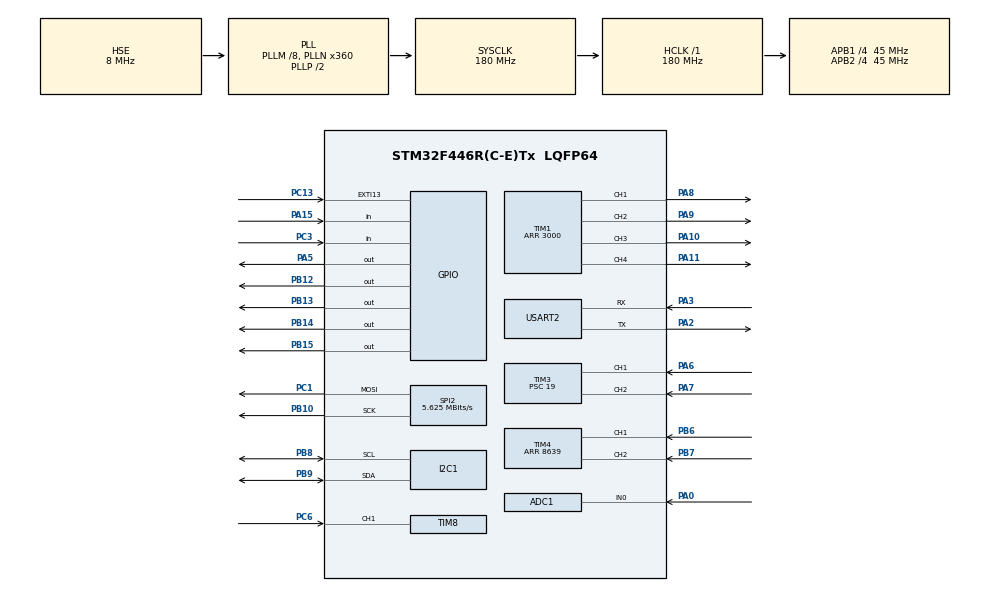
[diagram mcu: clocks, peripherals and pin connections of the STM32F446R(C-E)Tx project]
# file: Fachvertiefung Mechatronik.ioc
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ADC1.Channel-18\#ChannelRegularConversion=ADC_CHANNEL_0
ADC1.ClockPrescaler=ADC_CLOCK_SYNC_PCLK_DIV2
ADC1.ContinuousConvMode=DISABLE
ADC1.DMAContinuousRequests=DISABLE
ADC1.DataAlign=ADC_DATAALIGN_RIGHT
ADC1.DiscontinuousConvMode=DISABLE
ADC1.EOCSelection=ADC_EOC_SEQ_CONV
ADC1.EnableAnalogWatchDog=false
ADC1.ExternalTrigConv=ADC_EXTERNALTRIGCONV_T2_TRGO
ADC1.ExternalTrigConvEdge=ADC_EXTERNALTRIGCONVEDGE_RISING
ADC1.InjNumberOfConversion=0
ADC1.NbrOfConversion=1
ADC1.NbrOfConversionFlag=1
ADC1.Rank-18\#ChannelRegularConversion=1
ADC1.Resolution=ADC_RESOLUTION_12B
ADC1.SamplingTime-18\#ChannelRegularConversion=ADC_SAMPLETIME_3CYCLES
ADC1.ScanConvMode=DISABLE
ADC1.master=1
Dma.I2C1_TX.0.Direction=DMA_MEMORY_TO_PERIPH
Dma.I2C1_TX.0.FIFOMode=DMA_FIFOMODE_ENABLE
Dma.I2C1_TX.0.FIFOThreshold=DMA_FIFO_THRESHOLD_FULL
Dma.I2C1_TX.0.Instance=DMA1_Stream7
Dma.I2C1_TX.0.MemBurst=DMA_MBURST_SINGLE
Dma.I2C1_TX.0.MemDataAlignment=DMA_MDATAALIGN_BYTE
Dma.I2C1_TX.0.MemInc=DMA_MINC_ENABLE
Dma.I2C1_TX.0.Mode=DMA_NORMAL
Dma.I2C1_TX.0.PeriphBurst=DMA_PBURST_SINGLE
Dma.I2C1_TX.0.PeriphDataAlignment=DMA_PDATAALIGN_BYTE
Dma.I2C1_TX.0.PeriphInc=DMA_PINC_DISABLE
Dma.I2C1_TX.0.Priority=DMA_PRIORITY_LOW
Dma.Request0=I2C1_TX
Dma.Request1=USART2_RX
Dma.Request2=USART2_TX
Dma.Request3=SPI2_TX
Dma.SPI2_TX.3.Direction=DMA_MEMORY_TO_PERIPH
Dma.SPI2_TX.3.FIFOMode=DMA_FIFOMODE_DISABLE
Dma.SPI2_TX.3.Instance=DMA1_Stream4
Dma.SPI2_TX.3.MemDataAlignment=DMA_MDATAALIGN_BYTE
Dma.SPI2_TX.3.MemInc=DMA_MINC_ENABLE
Dma.SPI2_TX.3.Mode=DMA_NORMAL
Dma.SPI2_TX.3.PeriphDataAlignment=DMA_PDATAALIGN_BYTE
Dma.SPI2_TX.3.PeriphInc=DMA_PINC_DISABLE
Dma.SPI2_TX.3.Priority=DMA_PRIORITY_VERY_HIGH
Dma.USART2_RX.1.Direction=DMA_PERIPH_TO_MEMORY
Dma.USART2_RX.1.FIFOMode=DMA_FIFOMODE_DISABLE
Dma.USART2_RX.1.Instance=DMA1_Stream5
Dma.USART2_RX.1.MemDataAlignment=DMA_MDATAALIGN_BYTE
Dma.USART2_RX.1.MemInc=DMA_MINC_ENABLE
Dma.USART2_RX.1.Mode=DMA_NORMAL
Dma.USART2_RX.1.PeriphDataAlignment=DMA_PDATAALIGN_BYTE
Dma.USART2_RX.1.PeriphInc=DMA_PINC_DISABLE
Dma.USART2_RX.1.Priority=DMA_PRIORITY_LOW
Dma.USART2_TX.2.Direction=DMA_MEMORY_TO_PERIPH
Dma.USART2_TX.2.FIFOMode=DMA_FIFOMODE_DISABLE
Dma.USART2_TX.2.Instance=DMA1_Stream6
Dma.USART2_TX.2.MemDataAlignment=DMA_MDATAALIGN_BYTE
Dma.USART2_TX.2.MemInc=DMA_MINC_ENABLE
Dma.USART2_TX.2.Mode=DMA_NORMAL
Dma.USART2_TX.2.PeriphDataAlignment=DMA_PDATAALIGN_BYTE
Dma.USART2_TX.2.PeriphInc=DMA_PINC_DISABLE
Dma.USART2_TX.2.Priority=DMA_PRIORITY_LOW
I2C1.I2C_Mode=I2C_Fast
I2C1.NoStretchMode=I2C_NOSTRETCH_ENABLE
Mcu.Family=STM32F4
Mcu.Name=STM32F446R(C-E)Tx
Mcu.Package=LQFP64
Mcu.UserConstants=MODULE_NAME,"Mechatronik";FRAM_CLEAR_ON_INIT,0;FRAM_SIZE,2000
NVIC.ADC_IRQn=true\:0\:0\:false\:false\:true\:true
NVIC.DMA1_Stream4_IRQn=true\:0\:0\:false\:false\:true\:false
NVIC.DMA1_Stream5_IRQn=true\:0\:0\:false\:false\:true\:false
NVIC.DMA1_Stream6_IRQn=true\:0\:0\:false\:false\:true\:false
NVIC.DMA1_Stream7_IRQn=true\:0\:0\:false\:false\:true\:false
NVIC.EXTI15_10_IRQn=true\:0\:0\:false\:false\:true\:true
NVIC.I2C1_ER_IRQn=true\:0\:0\:false\:false\:true\:true
NVIC.I2C1_EV_IRQn=true\:0\:0\:false\:false\:true\:true
NVIC.PriorityGroup=NVIC_PRIORITYGROUP_0
NVIC.TIM1_UP_TIM10_IRQn=true\:0\:0\:false\:false\:true\:true
NVIC.TIM3_IRQn=true\:0\:0\:false\:false\:true\:true
NVIC.TIM8_CC_IRQn=true\:0\:0\:false\:false\:true\:true
NVIC.TIM8_UP_TIM13_IRQn=true\:0\:0\:false\:false\:true\:true
NVIC.USART2_IRQn=true\:0\:0\:false\:false\:true\:true
PA0-WKUP.Signal=ADCx_IN0
PA10.Signal=S_TIM1_CH3
PA11.Signal=S_TIM1_CH4
PA13.Mode=Serial_Wire
PA13.Signal=SYS_JTMS-SWDIO
PA14.Mode=Serial_Wire
PA14.Signal=SYS_JTCK-SWCLK
PA15.Signal=GPIO_Input
PA2.GPIO_Mode=GPIO_MODE_AF_PP
PA2.GPIO_PuPd=GPIO_PULLUP
PA2.GPIO_Speed=GPIO_SPEED_FREQ_VERY_HIGH
PA2.Mode=Asynchronous
PA2.Signal=USART2_TX
PA3.GPIO_Mode=GPIO_MODE_AF_PP
PA3.GPIO_PuPd=GPIO_PULLUP
PA3.GPIO_Speed=GPIO_SPEED_FREQ_VERY_HIGH
PA3.Mode=Asynchronous
PA3.Signal=USART2_RX
PA5.GPIO_ModeDefaultOutputPP=GPIO_MODE_OUTPUT_PP
PA5.GPIO_PuPd=GPIO_NOPULL
PA5.GPIO_Speed=GPIO_SPEED_FREQ_LOW
PA5.PinState=GPIO_PIN_RESET
PA5.Signal=GPIO_Output
PA6.Signal=S_TIM3_CH1
PA7.Signal=S_TIM3_CH2
PA8.Signal=S_TIM1_CH1
PA9.Signal=S_TIM1_CH2
PB10.Mode=TX_Only_Simplex_Unidirect_Master
PB10.Signal=SPI2_SCK
PB12.Signal=GPIO_Output
PB13.Signal=GPIO_Output
PB14.Signal=GPIO_Output
PB15.Signal=GPIO_Output
PB3.Signal=SYS_JTDO-SWO
PB6.Signal=S_TIM4_CH1
PB7.Signal=S_TIM4_CH2
PB8.Mode=I2C
PB8.Signal=I2C1_SCL
PB9.Mode=I2C
PB9.Signal=I2C1_SDA
PC1.Mode=TX_Only_Simplex_Unidirect_Master
PC1.Signal=SPI2_MOSI
PC13.GPIO_ModeDefaultEXTI=GPIO_MODE_IT_RISING
PC13.GPIO_PuPd=GPIO_NOPULL
PC13.Signal=GPXTI13
PC14-OSC32_IN.Mode=LSE-External-Oscillator
PC14-OSC32_IN.Signal=RCC_OSC32_IN
PC15-OSC32_OUT.Mode=LSE-External-Oscillator
PC15-OSC32_OUT.Signal=RCC_OSC32_OUT
PC3.Signal=GPIO_Input
PC6.Signal=S_TIM8_CH1
PH0-OSC_IN.Mode=HSE-External-Oscillator
PH0-OSC_IN.Signal=RCC_OSC_IN
PH1-OSC_OUT.Mode=HSE-External-Oscillator
PH1-OSC_OUT.Signal=RCC_OSC_OUT
ProjectManager.HeapSize=0x200
ProjectManager.StackSize=0x400
ProjectManager.TargetToolchain=TrueSTUDIO
RCC.48MHZClocksFreq_Value=84000000
RCC.AHBFreq_Value=180000000
RCC.APB1CLKDivider=RCC_HCLK_DIV4
RCC.APB1Freq_Value=45000000
RCC.APB1TimFreq_Value=90000000
RCC.APB2CLKDivider=RCC_HCLK_DIV4
RCC.APB2Freq_Value=45000000
RCC.APB2TimFreq_Value=90000000
RCC.CortexFreq_Value=180000000
RCC.FLatency-AdvancedSettings=FLASH_LATENCY_5
RCC.HCLKFreq_Value=180000000
RCC.HSE_VALUE=8000000
RCC.HSI_VALUE=16000000
RCC.PLLM=8
RCC.PLLN=360
RCC.PLLSourceVirtual=RCC_PLLSOURCE_HSE
RCC.SYSCLKFreq_VALUE=180000000
RCC.SYSCLKSource=RCC_SYSCLKSOURCE_PLLCLK
RCC.USBFreq_Value=180000000
RCC.VCOOutputFreq_Value=360000000
SH.ADCx_IN0.0=ADC1_IN0,IN0
SH.S_TIM1_CH1.0=TIM1_CH1,PWM Generation1 CH1
SH.S_TIM1_CH2.0=TIM1_CH2,PWM Generation2 CH2
SH.S_TIM1_CH3.0=TIM1_CH3,PWM Generation3 CH3
SH.S_TIM1_CH4.0=TIM1_CH4,PWM Generation4 CH4
SH.S_TIM3_CH1.0=TIM3_CH1,Input_Capture1_from_TI1
SH.S_TIM3_CH2.0=TIM3_CH2,Input_Capture2_from_TI2
SH.S_TIM4_CH1.0=TIM4_CH1,Encoder_Interface
SH.S_TIM4_CH2.0=TIM4_CH2,Encoder_Interface
SH.S_TIM8_CH1.0=TIM8_CH1,Input_Capture1_from_TI1
SPI2.BaudRatePrescaler=SPI_BAUDRATEPRESCALER_8
SPI2.CalculateBaudRate=5.625 MBits/s
SPI2.Direction=SPI_DIRECTION_2LINES
SPI2.Mode=SPI_MODE_MASTER
SPI2.VirtualType=VM_MASTER
TIM1.AutomaticOutput=TIM_AUTOMATICOUTPUT_DISABLE
TIM1.Channel-PWM\ Generation1\ CH1=TIM_CHANNEL_1
TIM1.Channel-PWM\ Generation2\ CH2=TIM_CHANNEL_2
TIM1.Channel-PWM\ Generation3\ CH3=TIM_CHANNEL_3
TIM1.Channel-PWM\ Generation4\ CH4=TIM_CHANNEL_4
TIM1.Period=3000
TIM1.Pulse-PWM\ Generation1\ CH1=0
TIM1.Pulse-PWM\ Generation2\ CH2=0
TIM1.Pulse-PWM\ Generation3\ CH3=0
TIM1.Pulse-PWM\ Generation4\ CH4=0
TIM10.Channel=TIM_CHANNEL_1
TIM10.Period=1000
TIM10.Prescaler=90
TIM10.Pulse=10
TIM13.Channel=TIM_CHANNEL_1
TIM13.Period=40
TIM13.Prescaler=90
TIM2.Period=10
TIM2.Prescaler=90
TIM2.TIM_MasterOutputTrigger=TIM_TRGO_UPDATE
TIM3.Channel-Input_Capture1_from_TI1=TIM_CHANNEL_1
TIM3.Channel-Input_Capture2_from_TI2=TIM_CHANNEL_2
TIM3.ICPolarity_CH1=TIM_INPUTCHANNELPOLARITY_BOTHEDGE
TIM3.ICPolarity_CH2=TIM_INPUTCHANNELPOLARITY_BOTHEDGE
TIM3.Period=65535
TIM3.Prescaler=19
TIM4.EncoderMode=TIM_ENCODERMODE_TI12
TIM4.Period=8639
TIM8.Channel-Input_Capture1_from_TI1=TIM_CHANNEL_1
TIM8.ICFilter_CH1=15
TIM8.Period=65535
TIM8.Prescaler=8
USART2.VirtualMode=VM_ASYNC
VP_TIM10_VS_ClockSourceINT.Mode=Enable_Timer
VP_TIM10_VS_no_output1.Mode=Output Compare1 No Output
VP_TIM13_VS_ClockSourceINT.Mode=Enable_Timer
VP_TIM13_VS_no_output1.Mode=PWM Generation1 No Output
VP_TIM1_VS_ClockSourceINT.Mode=Internal
VP_TIM2_VS_ClockSourceINT.Mode=Internal
VP_TIM3_VS_ClockSourceINT.Mode=Internal
VP_TIM8_VS_ClockSourceINT.Mode=Internal
board=NUCLEO-F446RE

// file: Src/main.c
/**
  ******************************************************************************
  * @file           : main.c
  * @brief          : Main program body
  ******************************************************************************
  ** This notice applies to any and all portions of this file
  * that are not between comment pairs USER CODE BEGIN and
  * USER CODE END. Other portions of this file, whether
  * inserted by the user or by software development tools
  * are owned by their respective copyright owners.
  *
  * COPYRIGHT(c) 2018 STMicroelectronics
  *
  * Redistribution and use in source and binary forms, with or without modification,
  * are permitted provided that the following conditions are met:
  *   1. Redistributions of source code must retain the above copyright notice,
  *      this list of conditions and the following disclaimer.
  *   2. Redistributions in binary form must reproduce the above copyright notice,
  *      this list of conditions and the following disclaimer in the documentation
  *      and/or other materials provided with the distribution.
  *   3. Neither the name of STMicroelectronics nor the names of its contributors
  *      may be used to endorse or promote products derived from this software
  *      without specific prior written permission.
  *
  * THIS SOFTWARE IS PROVIDED BY THE COPYRIGHT HOLDERS AND CONTRIBUTORS "AS IS"
  * AND ANY EXPRESS OR IMPLIED WARRANTIES, INCLUDING, BUT NOT LIMITED TO, THE
  * IMPLIED WARRANTIES OF MERCHANTABILITY AND FITNESS FOR A PARTICULAR PURPOSE ARE
  * DISCLAIMED. IN NO EVENT SHALL THE COPYRIGHT HOLDER OR CONTRIBUTORS BE LIABLE
  * FOR ANY DIRECT, INDIRECT, INCIDENTAL, SPECIAL, EXEMPLARY, OR CONSEQUENTIAL
  * DAMAGES (INCLUDING, BUT NOT LIMITED TO, PROCUREMENT OF SUBSTITUTE GOODS OR
  * SERVICES; LOSS OF USE, DATA, OR PROFITS; OR BUSINESS INTERRUPTION) HOWEVER
  * CAUSED AND ON ANY THEORY OF LIABILITY, WHETHER IN CONTRACT, STRICT LIABILITY,
  * OR TORT (INCLUDING NEGLIGENCE OR OTHERWISE) ARISING IN ANY WAY OUT OF THE USE
  * OF THIS SOFTWARE, EVEN IF ADVISED OF THE POSSIBILITY OF SUCH DAMAGE.
  *
  ******************************************************************************
  */
#include "main.h"
#include "stm32f4xx_hal.h"
#include "adc.h"
#include "dma.h"
#include "i2c.h"
#include "spi.h"
#include "tim.h"
#include "usart.h"
#include "gpio.h"

/* USER CODE BEGIN Includes */
#include "fram.h"
#include "sys.h"
#include "stdio.h"
#include "stdarg.h"
#include "arm_control.h"
#include "FireIndicator.h"
/* USER CODE END Includes */

/* USER CODE BEGIN PV */
/* Private variables ---------------------------------------------------------*/

/* USER CODE END PV */

void SystemClock_Config(void);

/* USER CODE BEGIN PFP */
/* Private function prototypes -----------------------------------------------*/

/* USER CODE END PFP */

/* USER CODE BEGIN 0 */
bool SpiInitDone;

volatile uint16_t blinkDelay = 1000;

size_t
snprintfcat(
    char* buf,
    size_t bufSize,
    char const* fmt,
    ...)
{
    size_t result;
    va_list args;
    size_t len = strnlen( buf, bufSize);

    va_start( args, fmt);
    result = vsnprintf( buf + len, bufSize - len, fmt, args);
    va_end( args);

    return result + len;
}

//void HAL_UART_RxCpltCallback(UART_HandleTypeDef *huart){
//	if(huart == &huart2)
//	{
//		  HAL_GPIO_WritePin(GPIOB, GPIO_PIN_14, 1);
//		  HAL_GPIO_WritePin(GPIOB, GPIO_PIN_14, 0);
//	}
//}

void PrintBytes(char* PrintBuffer, uint32_t PrintBufferSize ,void* Address, uint32_t Length, char Delimiter)
{

	snprintf(PrintBuffer, PrintBufferSize, "HexDump %8p [%ld]\n", Address, Length);

	char* Data = (char*)Address;

	for(uint32_t i = 0; i < (Length>>2); i++)
	{
		snprintfcat(PrintBuffer,PrintBufferSize,"%02X%02X%02X%02X%c", Data[i],  Data[i+1],  Data[i+2],  Data[i+3], Delimiter);
	}
}

#define BufferSize sizeof(ControlFrame)
#define BufferCount 2
uint32_t BufferIndex = 0;
uint32_t ReadIndex = 0;
unsigned char UART_RX_DATA[BufferCount][BufferSize] = {0};

extern Mode state;

/* USER CODE END 0 */

int main(void)
{
  /* USER CODE BEGIN 1 */
	sysStartup();
  /* USER CODE END 1 */

  /* MCU Configuration----------------------------------------------------------*/

  /* Reset of all peripherals, Initializes the Flash interface and the Systick. */
  HAL_Init();

  /* Configure the system clock */
  SystemClock_Config();

  /* Initialize all configured peripherals */
  MX_GPIO_Init();
  MX_DMA_Init();
  MX_USART2_UART_Init();
  MX_I2C1_Init();
  MX_TIM2_Init();
  MX_TIM4_Init();
  MX_TIM1_Init();
  MX_TIM3_Init();
  MX_TIM10_Init();
  MX_TIM13_Init();
  MX_ADC1_Init();
  MX_TIM8_Init();
  MX_SPI2_Init();
  /* USER CODE BEGIN 2 */
  HAL_TIM_Base_Start(&htim2); //Start timer to to provide trigger for the adc conversion
  //HAL_ADC_Start_IT(&hadc1);

  HAL_ADC_Start_IT(&hadc1);
  //HAL_ADC_Start(&hadc1);

  HAL_UART_Receive_DMA(&huart2,UART_RX_DATA[BufferIndex], sizeof(UART_RX_DATA[0]));
  ReadIndex = BufferIndex;
  BufferIndex = (BufferIndex + 1) % BufferCount;

  uint32_t CycleCounter = 0;

  //PWM output Half Bridge Driver
  HAL_TIM_Base_Start(&htim1);
  HAL_TIM_PWM_Start(&htim1,TIM_CHANNEL_1);
  HAL_TIM_PWM_Start(&htim1,TIM_CHANNEL_2);
  HAL_TIM_PWM_Start(&htim1,TIM_CHANNEL_3);
  HAL_TIM_PWM_Start(&htim1,TIM_CHANNEL_4);

  //PWM Output Reserve
  HAL_TIM_Base_Start_IT(&htim3);
  HAL_TIM_IC_Start(&htim3,TIM_CHANNEL_1);
  HAL_TIM_IC_Start(&htim3,TIM_CHANNEL_2);

  //Timer for 25kHz interrupt signal
  HAL_TIM_PWM_Start_IT(&htim13,TIM_CHANNEL_1);

  //Timer for 1kHz interrupt signal
  HAL_TIM_PWM_Start_IT(&htim10,TIM_CHANNEL_1);

  //PWM input period capture
  HAL_TIM_Base_Start(&htim8);
  HAL_TIM_IC_Start_IT(&htim8,TIM_CHANNEL_1);
  HAL_TIM_IC_Start(&htim8,TIM_CHANNEL_2);

  HAL_SPI_Init(&hspi2);

 unsigned long cntvalue = __HAL_TIM_GET_COUNTER(&htim2);

  //Encoder Initialize
  HAL_TIM_Encoder_Start(&htim4,TIM_CHANNEL_ALL); //Encoder

  InitializeColors();
  SpiInitDone = 1;

  fram_init();
  char SystemID[SYSTEM_ID_STRING_SIZE];
  getSystemID(SystemID, sizeof(SystemID));

  //SetPosition(-0.7f, 0.8f, 0.0f);

  /* USER CODE END 2 */

  /* Infinite loop */
  /* USER CODE BEGIN WHILE */
  while (1)
  {
	 // htim1.Instance->CCR1;

  /* USER CODE END WHILE */

  /* USER CODE BEGIN 3 */
	  HAL_Delay(10); //1ms Wait
	  ui32 dt = 250;
	  const ui32 Interval1sec = 1*sec;
	  const ui32 Interval250ms = 250*ms;

	  static unsigned long Timer1sec = 0;
	  Timer1sec = (Timer1sec + dt) % Interval1sec;

	  static unsigned long Timer250ms = 0;
	  Timer250ms = (Timer250ms + dt) % Interval250ms;

	  static ui32 ColorMode = 0;
//	  ColorMode = (ColorMode + 1) % 16;
//	  ui32 color = GetColor(ColorMode);

	  int LedsOn 				= InputControlFrame.LedShootPosition;
	  bool Disconnected 		= LedsOn == 0;
	  if 		(Disconnected) 			LedsOn = 60;
	  else if 	(LedsOn == 0xFFFFFFFF) 	LedsOn = 0;

	  bool IndicationMode		= state != Prepare;

	  ui32 color = 0;
	  if		(Disconnected && Timer250ms < (Interval250ms>>1)) 		color = Red;
	  else if 	(Disconnected)											color = Aqua;
	  else if 	(!IndicationMode && (Timer250ms < (Interval250ms>>1))) 	color = (ui32) Red;
	  else if 	(!IndicationMode)										color = (ui32) Black;
	  else																color = (ui32) White;

	  for(int i = 0; i < LEDs; i++)
	  {
		  ui32 ledcolor;
		  bool On;
		  if (IndicationMode && !Disconnected)
		  {
			  if(i < (LedsOn - 3)) 			{On = 1; ledcolor = White;}
			  else if (i < LedsOn) 			{On = 1; ledcolor = Lime;}
			  else if (i == LedsOn) 		{On = 1; ledcolor = 0x0080FF;}
			  else if (i <= (LedsOn + 3)) 	{On = 1; ledcolor = Lime;}
			  else 							{On = 1; ledcolor = Black;}
		  }
		  else
		  {
			  On = i <= LedsOn;
			  ledcolor = color;
		  }

		  SetLedColor(i, On ? ledcolor : (ui32)Black);
	  }

	  UpdateLeds(dt);
	  CycleCounter++;
  }
  /* USER CODE END 3 */

}

void SystemClock_Config(void)
{

  RCC_OscInitTypeDef RCC_OscInitStruct;
  RCC_ClkInitTypeDef RCC_ClkInitStruct;

    /**Configure the main internal regulator output voltage
    */
  __HAL_RCC_PWR_CLK_ENABLE();

  __HAL_PWR_VOLTAGESCALING_CONFIG(PWR_REGULATOR_VOLTAGE_SCALE1);

    /**Initializes the CPU, AHB and APB busses clocks
    */
  RCC_OscInitStruct.OscillatorType = RCC_OSCILLATORTYPE_HSE;
  RCC_OscInitStruct.HSEState = RCC_HSE_ON;
  RCC_OscInitStruct.PLL.PLLState = RCC_PLL_ON;
  RCC_OscInitStruct.PLL.PLLSource = RCC_PLLSOURCE_HSE;
  RCC_OscInitStruct.PLL.PLLM = 8;
  RCC_OscInitStruct.PLL.PLLN = 360;
  RCC_OscInitStruct.PLL.PLLP = RCC_PLLP_DIV2;
  RCC_OscInitStruct.PLL.PLLQ = 2;
  RCC_OscInitStruct.PLL.PLLR = 2;
  if (HAL_RCC_OscConfig(&RCC_OscInitStruct) != HAL_OK)
  {
    _Error_Handler(__FILE__, __LINE__);
  }

    /**Activate the Over-Drive mode
    */
  if (HAL_PWREx_EnableOverDrive() != HAL_OK)
  {
    _Error_Handler(__FILE__, __LINE__);
  }

    /**Initializes the CPU, AHB and APB busses clocks
    */
  RCC_ClkInitStruct.ClockType = RCC_CLOCKTYPE_HCLK|RCC_CLOCKTYPE_SYSCLK
                              |RCC_CLOCKTYPE_PCLK1|RCC_CLOCKTYPE_PCLK2;
  RCC_ClkInitStruct.SYSCLKSource = RCC_SYSCLKSOURCE_PLLCLK;
  RCC_ClkInitStruct.AHBCLKDivider = RCC_SYSCLK_DIV1;
  RCC_ClkInitStruct.APB1CLKDivider = RCC_HCLK_DIV4;
  RCC_ClkInitStruct.APB2CLKDivider = RCC_HCLK_DIV4;

  if (HAL_RCC_ClockConfig(&RCC_ClkInitStruct, FLASH_LATENCY_5) != HAL_OK)
  {
    _Error_Handler(__FILE__, __LINE__);
  }

    /**Configure the Systick interrupt time
    */
  HAL_SYSTICK_Config(HAL_RCC_GetHCLKFreq()/1000);

    /**Configure the Systick
    */
  HAL_SYSTICK_CLKSourceConfig(SYSTICK_CLKSOURCE_HCLK);

  /* SysTick_IRQn interrupt configuration */
  HAL_NVIC_SetPriority(SysTick_IRQn, 0, 0);
}

/* USER CODE BEGIN 4 */

void SendDataViaUART(void* Buffer, uint32_t length)
{

}

void UART_DataReceived()
{
	uint32_t Data = UART_RX_DATA[ReadIndex][0]<<0 | UART_RX_DATA[ReadIndex][1]<<8 | UART_RX_DATA[ReadIndex][2]<<16 | UART_RX_DATA[ReadIndex][3]<<24;
	if(Data == 0x12345678)
	{
		memcpy(&InputControlFrame, UART_RX_DATA[ReadIndex],sizeof(ControlFrame));

		 //SetPosition(InputControlFrame.PositionSetpoint,InputControlFrame.SpeedSetpoint, InputControlFrame.LorenzPositionSetpoint );

		 //SetLorenzAktuator(InputControlFrame.LorenzPositionSetpoint,1.0f-InputControlFrame.LorenzPositionSetpoint);
	}
}

void HAL_UART_RxCpltCallback(UART_HandleTypeDef* huart)
{
	if(huart->Instance == huart2.Instance)
	{
		HAL_UART_Receive_DMA(&huart2,UART_RX_DATA[BufferIndex], sizeof(UART_RX_DATA[0]));
		ReadIndex = BufferIndex;
		BufferIndex = (BufferIndex + 1) % BufferCount;

		UART_DataReceived();

		//HAL_UART_Transmit_DMA(&huart2, UART_RX_DATA[ReadIndex], sizeof(UART_RX_DATA[0]));

		//HAL_GPIO_WritePin(GPIOA, GPIO_PIN_5, 1);
		//HAL_GPIO_WritePin(GPIOA, GPIO_PIN_5, 0);
		//HAL_UART_Transmit_DMA(&huart2, UART_RX_DATA, strlen(UART_RX_DATA));

	}

}

void HAL_UART_TxCpltCallback(UART_HandleTypeDef* huart)
{
	if(huart->Instance == huart2.Instance)
	{
		HAL_GPIO_WritePin(GPIOA, GPIO_PIN_5, 1);
		HAL_GPIO_WritePin(GPIOA, GPIO_PIN_5, 0);
	}

}

/* USER CODE END 4 */

void _Error_Handler(char *file, int line)
{
  while(1)
  {
  }
}

/************************ (C) COPYRIGHT STMicroelectronics *****END OF FILE****/
